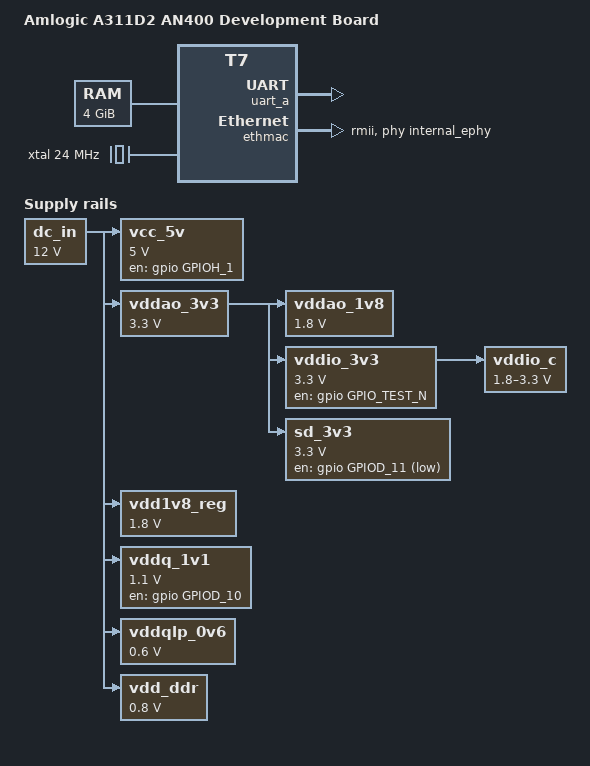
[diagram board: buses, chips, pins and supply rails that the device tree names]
// SPDX-License-Identifier: (GPL-2.0+ OR MIT)
/*
 * Copyright (c) 2023 Amlogic, Inc. All rights reserved.
 */

/dts-v1/;

#include "amlogic-t7.dtsi"

/ {
	model = "Amlogic A311D2 AN400 Development Board";
	compatible = "amlogic,an400", "amlogic,a311d2", "amlogic,t7";
	interrupt-parent = <&gic>;
	#address-cells = <2>;
	#size-cells = <2>;

	aliases {
		serial0 = &uart_a;
	};

	memory@0 {
		device_type = "memory";
		reg = <0x00000000 0x00000000 0x00000000 0xe0000000
			0x00000001 0x00000000 0x00000000 0x20000000>;
	};

	reserved-memory {
		#address-cells = <2>;
		#size-cells = <2>;
		ranges;

		/* 3 MiB reserved for ARM Trusted Firmware (BL31) */
		secmon_reserved: secmon@5000000 {
			reg = <0x0 0x05000000 0x0 0x300000>;
			no-map;
		};

		/* 32 MiB reserved for ARM Trusted Firmware (BL32) */
		secmon_reserved_bl32: secmon@5300000 {
			reg = <0x0 0x05300000 0x0 0x2000000>;
			no-map;
		};
	};

	xtal: xtal-clk {
		compatible = "fixed-clock";
		clock-frequency = <24000000>;
		clock-output-names = "xtal";
		#clock-cells = <0>;
	};

	dc_in: regulator-dc-in {
		compatible = "regulator-fixed";
		regulator-name = "12V";
		regulator-min-microvolt = <12000000>;
		regulator-max-microvolt = <12000000>;
		regulator-boot-on;
		regulator-always-on;
	};

	vcc_5v: regulator-vcc-5v {
		compatible = "regulator-fixed";
		vin-supply = <&dc_in>;
		regulator-name = "VCC5V";
		regulator-min-microvolt = <5000000>;
		regulator-max-microvolt = <5000000>;
		gpio = <&gpio GPIOH_1 GPIO_ACTIVE_HIGH>;
		startup-delay-us = <70000>;
		enable-active-high;
		regulator-boot-on;
		regulator-always-on;
	};

	vddao_3v3: regulator-vddao-3v3 {
		vin-supply = <&dc_in>;
		compatible = "regulator-fixed";
		regulator-name = "VDDAO_3V3";
		regulator-min-microvolt = <3300000>;
		regulator-max-microvolt = <3300000>;
		startup-delay-us = <70000>;
		regulator-boot-on;
		regulator-always-on;
	};

	vdd1v8_reg: regulator-vdd-1v8 {
		vin-supply = <&dc_in>;
		compatible = "regulator-fixed";
		regulator-name = "VDDIO_1V8";
		regulator-min-microvolt = <1800000>;
		regulator-max-microvolt = <1800000>;
		startup-delay-us = <70000>;
		regulator-boot-on;
		regulator-always-on;
	};

	vddao_1v8: regulator-vddao-1v8 {
		compatible = "regulator-fixed";
		vin-supply = <&vddao_3v3>;
		regulator-name = "VDDAO_1V8";
		regulator-min-microvolt = <1800000>;
		regulator-max-microvolt = <1800000>;
		regulator-boot-on;
		regulator-always-on;
	};

	vddio_3v3: regulator-vddio-3v3 {
		compatible = "regulator-fixed";
		vin-supply = <&vddao_3v3>;
		regulator-name = "VDDIO_3V3";
		regulator-min-microvolt = <3300000>;
		regulator-max-microvolt = <3300000>;
		gpio = <&gpio GPIO_TEST_N GPIO_ACTIVE_HIGH>;
		startup-delay-us = <70000>;
		enable-active-high;
		regulator-boot-on;
		regulator-always-on;
	};

	sd_3v3: regulator-sd-3v3 {
		compatible = "regulator-fixed";
		regulator-name = "SD_3V3: SD/TF";
		vin-supply = <&vddao_3v3>;
		regulator-min-microvolt = <3300000>;
		regulator-max-microvolt = <3300000>;
		gpio = <&gpio GPIOD_11 GPIO_ACTIVE_LOW>;  /* 0R */
		regulator-boot-on;
		regulator-always-on;
	};

	vddio_c: regulator-sd-1v8-3v3 {
		compatible = "regulator-gpio";
		vin-supply = <&vddio_3v3>;
		regulator-name = "VDDIO_C: SD/TF.";
		regulator-min-microvolt = <1800000>;
		regulator-max-microvolt = <3300000>;
		gpios = <&gpio GPIOE_2 GPIO_ACTIVE_HIGH>;
		gpios-states = <1>;

		/* Based on P200 schematics, signal CARD_1.8V/3.3V_CTR */
		states = <1800000 1
			  3300000 0>;
	};

	vddq_1v1: regulator-vddq-1v1 {
		compatible = "regulator-fixed";
		vin-supply = <&dc_in>;
		regulator-name = "VDDQ_1V1";
		regulator-min-microvolt = <1100000>;
		regulator-max-microvolt = <1100000>;
		gpio = <&gpio GPIOD_10 GPIO_ACTIVE_HIGH>;
		startup-delay-us = <70000>;
		enable-active-high;
		regulator-boot-on;
		regulator-always-on;
	};

	vddqlp_0v6: regulator-vddqlp-0v6 {
		vin-supply = <&dc_in>;
		compatible = "regulator-fixed";
		regulator-name = "VDDQLP_0V6";
		regulator-min-microvolt = <600000>;
		regulator-max-microvolt = <600000>;
		startup-delay-us = <70000>;
		enable-active-high;
		regulator-boot-on;
		regulator-always-on;
	};

	vdd_ddr: regulator-vdd-ddr {
		vin-supply = <&dc_in>;
		compatible = "regulator-fixed";
		regulator-name = "VDD_DDR";
		regulator-min-microvolt = <800000>;
		regulator-max-microvolt = <800000>;
		startup-delay-us = <70000>;
		enable-active-high;
		regulator-boot-on;
		regulator-always-on;
	};
};

&uart_a {
	clocks = <&xtal>, <&clkc_periphs CLKID_SYS_UART_A>, <&xtal>;
	clock-names = "xtal", "pclk", "baud";
	status = "okay";
};

&ethmac {
	status = "okay";
	phy-handle = <&internal_ephy>;
	phy-mode = "rmii";
};
